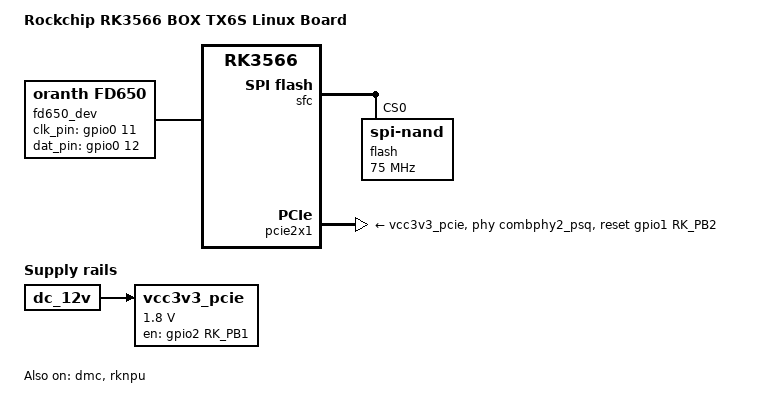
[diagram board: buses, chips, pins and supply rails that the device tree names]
// SPDX-License-Identifier: (GPL-2.0+ OR MIT)
/*
 * Copyright (c) 2021 Rockchip Electronics Co., Ltd.
 *
 */

/dts-v1/;

#include "rk3566-kickpi-box.dtsi"

#include "rk3566-kickpi-ir.dtsi"


/ {
	model = "Rockchip RK3566 BOX TX6S Linux Board";
	compatible = "rockchip,rk3566-box-tx6s", "rockchip,rk3566";
	
	// chosen {
	// 	//  resvered memory for kdump 
	// 	bootargs = "crashkernel=128M earlycon=uart8250,mmio32,0xfe660000 console=ttyFIQ0";
	// };
	
	ramoops_mem: ramoops_mem {
		reg = <0x0 0x110000 0x0 0xf0000>;
		reg-names = "ramoops_mem";
	};
	
	ramoops {
		compatible = "ramoops";
		record-size = <0x0 0x20000>;
		console-size = <0x0 0x80000>;
		ftrace-size = <0x0 0x00000>;
		pmsg-size = <0x0 0x50000>;
		memory-region = <&ramoops_mem>;
	};

	fd650_dev {
		  compatible = "oranth,fd650";
		  status = "okay";
		  clk_pin  = <&gpio0  11  GPIO_ACTIVE_HIGH>;
		  dat_pin  = <&gpio0  12  GPIO_ACTIVE_HIGH>;
	};

	vcc3v3_pcie: gpio-regulator {
		compatible = "regulator-fixed";
		// compatible = "regulator-gpio";
		regulator-name = "vcc3v3_pcie";
		regulator-min-microvolt = <1800000>;
		regulator-max-microvolt = <1800000>;
		enable-active-high;
		pinctrl-0 = <&wifi_enable_h>;
		pinctrl-names = "default";
		gpio = <&gpio2 RK_PB1 GPIO_ACTIVE_HIGH>; // ignore gpio control, because it is always high level
		// 默认需要delay
		regulator-always-on;
		regulator-on-in-suspend;
		startup-delay-us = <5000>;
		vin-supply = <&dc_12v>;
		
		regulator-state-mem {
			regulator-on-in-suspend;
		};
		regulator-state-disk {
			regulator-on-in-suspend;
		};
	};
};


// DDR
&dmc {
  //ddr_timing = <&ddr_timing>;
	// devfreq-events = <&dfi>;
	// clocks = <&cru SCLK_DDRCLK>;
  vop-bw-dmc-freq = <
  /* min_bw(MB/s) max_bw(MB/s) freq(KHz) */
        0           505        324000
        506         99999      1056000
  >;
  system-status-freq = <
    /* system status         freq level(KHz) */
    SYS_STATUS_NORMAL       1056000
    SYS_STATUS_REBOOT        324000
    SYS_STATUS_SUSPEND       324000
    SYS_STATUS_VIDEO_4K     1056000
    SYS_STATUS_VIDEO_4K_10B 1056000
    SYS_STATUS_BOOST        1056000
    SYS_STATUS_ISP          1056000
    SYS_STATUS_PERFORMANCE  1056000
    SYS_STATUS_DUALVIEW     1056000
  >;
	// ddr_power_model: ddr_power_model {
	// 	dynamic-power-coefficient = <120>;
	// 	static-power-coefficient = <300>;
	// 	ts = <32000 4700 (-80) 2>;
	// 	thermal-zone = "soc-thermal";
	// }
	auto-freq-en = <1>;
  status = "okay";
};

// &dmc_fsp {
//   status = "disabled";
// };

&dmc_opp_table {
	compatible = "operating-points-v2";
	mbist-vmin = <825000 900000 950000>;
	nvmem-cells = <&log_leakage>, <&core_pvtm>, <&mbist_vmin>;
	nvmem-cell-names = "leakage", "pvtm", "mbist-vmin";
	rockchip,temp-hysteresis = <5000>;
	rockchip,low-temp = <0>;
	rockchip,low-temp-adjust-volt = <
		/* MHz    MHz    uV */
		   0      1560   25000
	>;
	rockchip,leakage-voltage-sel = <
		1   80    0
		81  254   1
	>;
	opp-324000000 {
		opp-hz = /bits/ 64 <324000000>;
		opp-microvolt = <900000>;
		opp-microvolt-L0 = <900000>;
		opp-microvolt-L1 = <850000>;
	};
	opp-528000000 {
		opp-hz = /bits/ 64 <528000000>;
		opp-microvolt = <900000>;
		opp-microvolt-L0 = <900000>;
		opp-microvolt-L1 = <850000>;
	};
	
	opp-630000000 {
		opp-hz = /bits/ 64 <630000000>;
		opp-microvolt = <900000>;
		opp-microvolt-L0 = <900000>;
		opp-microvolt-L1 = <850000>;
	};
	opp-780000000 {
		opp-hz = /bits/ 64 <780000000>;
		opp-microvolt = <900000>;
		opp-microvolt-L0 = <900000>;
		opp-microvolt-L1 = <850000>;
	};
	opp-920000000 {
		opp-hz = /bits/ 64 <920000000>;
		opp-microvolt = <900000>;
		opp-microvolt-L0 = <900000>;
		opp-microvolt-L1 = <850000>;
		status = "disabled";
	};
	opp-1056000000 {
		opp-hz = /bits/ 64 <1056000000>;
		opp-microvolt = <900000>;
		opp-microvolt-L0 = <900000>;
		opp-microvolt-L1 = <850000>;
		status = "disabled";
	};
	opp-1560000000 {
		opp-hz = /bits/ 64 <1560000000>;
		opp-microvolt = <900000>;
		opp-microvolt-L0 = <900000>;
		opp-microvolt-L1 = <850000>;
		status = "disabled";
	};
};

// io_domains
&pmu_io_domains {
	status = "okay";
	pmuio2-supply = <&vcc_3v3>;
	vccio1-supply = <&vcc_3v3>;
	vccio3-supply = <&vcc_3v3>;
	vccio4-supply = <&vcc_1v8>;
	vccio5-supply = <&vcc_3v3>;
	vccio6-supply = <&vcc_1v8>;
	vccio7-supply = <&vcc_3v3>;
};

/************************ rk3566-box.dtsi ************/
// NPU
&rknpu {
	memory-region = <&rknpu_reserved>;
	rknpu-supply = <&vdd_fixed>;
	status = "okay";
};

&rknpu_mmu {
	status = "disabled";
};

&reserved_memory {
	#address-cells = <2>;
	#size-cells = <2>;
	ranges;

	rknpu_reserved: rknpu {
		compatible = "shared-dma-pool";
		inactive;
		reusable;
		size = <0x0 0x20000000>;
		alignmemt = <0x0 0x1000>;
		status = "disabled";
	};
};

&sfc {
	status = "okay";

	flash@0 {
		compatible = "spi-nand";
		reg = <0>;
		spi-max-frequency = <75000000>;
		spi-rx-bus-width = <4>;
		spi-tx-bus-width = <1>;
	};
};


&rockchip_suspend {
  rockchip,sleep-debug-en = <1>;
	rockchip,virtual-poweroff = <1>;
};

&hdmi_sound {
  simple-audio-card,mclk-fs = <256>;
};

/*********************************/

&sata1 {
	// box不需要sata功能
	status = "disabled";
};

&sata2 {
	// sata 和 pcie2x1所属同一phy,关闭
	status = "disabled";
};
&pcie2x1 {
	phys = <&combphy2_psq PHY_TYPE_PCIE>;
	reset-gpios = <&gpio1 RK_PB2 GPIO_ACTIVE_HIGH>;
	rockchip,skip-scan-in-resume;
	vpcie3v3-supply = <&vcc3v3_pcie>;
	status = "okay";
};
